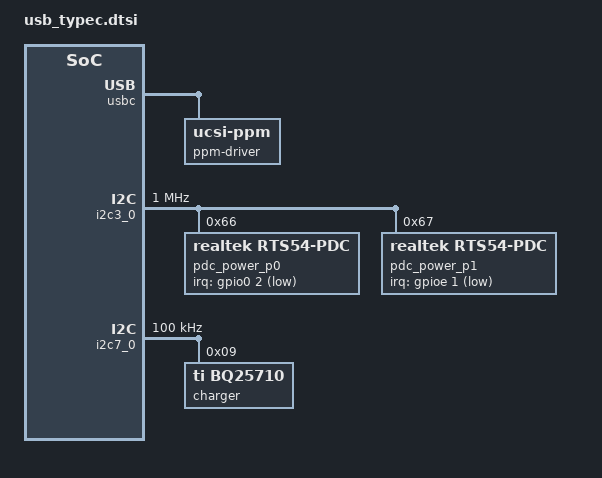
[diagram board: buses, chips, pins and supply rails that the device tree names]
/*
 * Copyright 2025 The ChromiumOS Authors
 *
 * SPDX-License-Identifier: Apache-2.0
 */

#include <usbc-policy.dtsi>

 /{
	usbc {
		#address-cells = <1>;
		#size-cells = <0>;
		usbc_port0: port0@0 {
			compatible = "named-usbc-port";
			reg = <0>;
			chg = <&charger>;
			pdc = <&pdc_power_p0>;
			policy = <&cros_policy>;
		};
		usbc_port1: port1@0 {
			compatible = "named-usbc-port";
			reg = <1>;
			pdc = <&pdc_power_p1>;
			policy = <&cros_policy>;
		};
		ppm-driver {
			compatible = "ucsi-ppm";
		};
	};
};

&i2c3_0 {
	label = "I2C_PORT_PD";
	clock-frequency = <I2C_BITRATE_FAST_PLUS>;

	pdc_power_p0: rts54-pdc@66 {
		compatible = "realtek,rts54-pdc";
		status = "okay";
		reg = <0x66>;
		irq-gpios = <&gpio0 2 GPIO_ACTIVE_LOW>;
	};

	pdc_power_p1: rts54-pdc@67 {
		compatible = "realtek,rts54-pdc";
		status = "okay";
		reg = <0x67>;
		irq-gpios = <&gpioe 1 GPIO_ACTIVE_LOW>;
	};


};

&i2c7_0 {
	label = "I2C_BATTERY";
	label = "I2C_PORT_CHARGER";

	clock-frequency = <I2C_BITRATE_STANDARD>;
	charger: bq25710@9 {
		compatible = "ti,bq25710";
		status = "okay";
		reg = <0x9>;
	};
};
